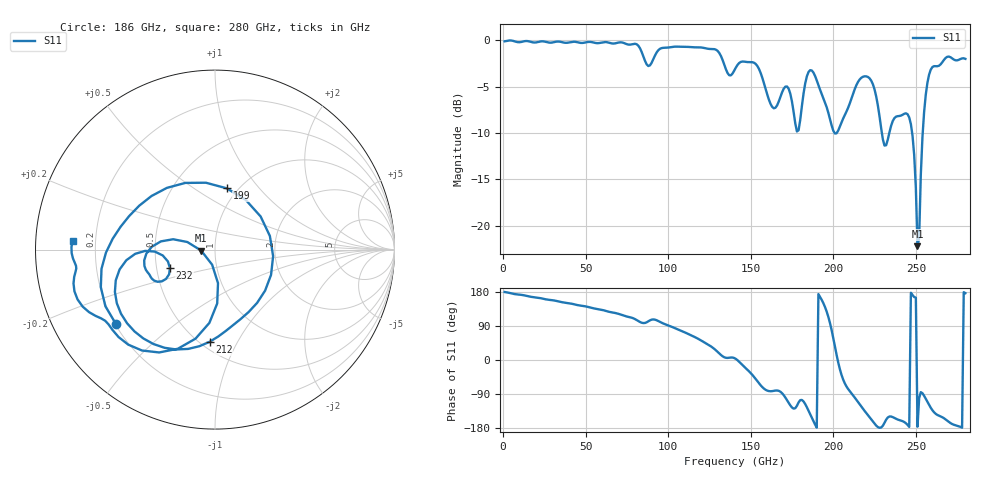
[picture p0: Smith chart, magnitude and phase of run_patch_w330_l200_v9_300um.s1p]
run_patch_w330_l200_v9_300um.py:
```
import os
import sys
sys.path.insert(0, os.path.abspath(os.path.join(os.path.dirname(__file__), 'modules')))

import modules.util_stackup_reader as stackup_reader
import modules.util_gds_reader as gds_reader
import modules.util_utilities as utilities
import modules.util_simulation_setup as simulation_setup
import modules.util_meshlines as util_meshlines

from openEMS import openEMS
import numpy as np
import matplotlib.pyplot as plt

# Model comments
#
# Dual dipole 245 GHz, design by IHP Klaus Schmalz
# Port defined in GDSIIfile on layer 201
# nf2ff_box field sampling at boundary for pattern calculation


# ======================== workflow settings ================================

# preview model/mesh only?
# postprocess existing data without re-running simulation?
preview_only = False
postprocess_only = True

# ===================== input files and path settings =======================

gds_filename = "patch_w330_l200_v9.gds"   # geometries
XML_filename = "SG13G2_300um.xml"       # stackup

# preprocess GDSII for safe handling of cutouts/holes?
preprocess_gds = False

# merge via polygons with distance less than .. microns, set to 0 to disable via merging.
merge_polygon_size = 0

# get path for this simulation file
script_path = utilities.get_script_path(__file__)

# use script filename as model basename
model_basename = utilities.get_basename(__file__)

# set and create directory for simulation output
sim_path = utilities.create_sim_path (script_path,model_basename)
print('Simulation data directory: ', sim_path)

# change current path to model script path
os.chdir(os.path.dirname(os.path.abspath(__file__)))

# ======================== simulation settings ================================

unit = 1e-6   # geometry dimensions and all lengths unit is µm (micrometer)
margin = 200    # distance in microns from GDSII geometry boundary to chip boundary 

fstart = 1e9
fstop  = 280e9
num_freq = 280

ftarget = 140e9  # frequency for antenna pattern calculation

refined_cellsize = 2.0  # mesh cell size in conductor region

# choices for boundary: 
# 'PEC' : perfect electric conductor (default)
# 'PMC' : perfect magnetic conductor, useful for symmetries
# 'MUR' : simple MUR absorbing boundary conditions
# 'PML_8' : PML absorbing boundary conditions
Boundaries = ['PML_8', 'PML_8', 'PML_8', 'PML_8', 'PML_8', 'PML_8']

cells_per_wavelength = 10   # how many mesh cells per wavelength, must be 10 or more
energy_limit = -30          # end criteria for residual energy (dB)

# ports from GDSII Data, polygon geometry from specified special layer
# note that for multiport simulation, excitations are switched on/off in simulation_setup.createSimulation below
simulation_ports = simulation_setup.all_simulation_ports()
simulation_ports.add_port(simulation_setup.simulation_port(portnumber=1, voltage=1, port_Z0=50, source_layernum=201, target_layername='TopMetal2', direction='-y'))

# ======================== simulation ================================

# get technology stackup data
materials_list, dielectrics_list, metals_list = stackup_reader.read_substrate (XML_filename)
# get list of layers from technology
layernumbers = metals_list.getlayernumbers()
layernumbers.extend(simulation_ports.portlayers)

# read geometries from GDSII, only purpose 0
allpolygons = gds_reader.read_gds(gds_filename, layernumbers, purposelist=[0], metals_list=metals_list, preprocess=preprocess_gds, merge_polygon_size=merge_polygon_size)

# calculate maximum cellsize from wavelength in dielectric
wavelength_air = 3e8/fstop / unit
max_cellsize = (wavelength_air)/(np.sqrt(materials_list.eps_max)*cells_per_wavelength) 


########### create model, run and post-process ###########

# Prepare simulation for port 1 excitation
excite_ports = [1]  # list of ports that are excited for this simulation run
FDTD = openEMS(EndCriteria=np.exp(energy_limit/10 * np.log(10)))
FDTD.SetGaussExcite( (fstart+fstop)/2, (fstop-fstart)/2 )
FDTD.SetBoundaryCond( Boundaries )

FDTD = simulation_setup.setupSimulation(
    excite_ports, 
    simulation_ports, 
    FDTD, 
    materials_list, 
    dielectrics_list, 
    metals_list, 
    allpolygons, 
    max_cellsize, 
    refined_cellsize, 
    margin, 
    unit, 
    xy_mesh_function = util_meshlines.create_xy_mesh_from_polygons, 
    air_around = 0.5*wavelength_air
    )

# add nf2ff box for antenna pattern calculation
nf2ff_box = FDTD.CreateNF2FFBox(opt_resolution = [max_cellsize]*3, frequency = [ftarget])

# run simulation
sub1_data_path = simulation_setup.runSimulation(excite_ports, FDTD, sim_path, model_basename, preview_only, postprocess_only)

# simulation is finished, get results, CSX port definition is read from simulation ports object
CSX_port1 = simulation_ports.get_port_by_number(1).CSXport

# definition of some utility functions
def dB(value, factor=20):
    return factor*np.log10(np.abs(value))
def dBm(value, factor=20):
    return dB(value/1e-3, factor=factor)

# evaluate results for 1-port simulation
if not preview_only:  
    f = np.linspace(fstart, fstop, num_freq)

    s11 = utilities.calculate_Sij(1, 1, f, sim_path, simulation_ports)
    s11_dB = dB(s11)

    # write Touchstone S1P file
    s1p_name = os.path.join(sim_path, model_basename + '.s1p')
    utilities.write_snp (np.array([s11]),f, s1p_name)

    # plot return loss
    fig, axis = plt.subplots(num="Return Loss", tight_layout=True)
    axis.plot(f/1e9, s11_dB, 'k-', linewidth=2, label='S11 (dB)')
    axis.grid()
    axis.set_xmargin(0)
    axis.set_xlim(110,170)
    axis.set_xlabel('Frequency (GHz)')
    axis.set_title("Return Loss")
    axis.legend()
    
    print('Calculating antenna pattern, this will take a while!')
   
    theta = np.arange(-180.0, 180.0, 2.0)
    phi   = [0., 90.]
    nf2ff_res = nf2ff_box.CalcNF2FF(sub1_data_path, ftarget, theta, phi)

   # INPUT POWER values into feed port at evaluation frequency
   # P_acc = accepted power (incoming - reflected)
   # P_inc = incident power (incoming), regardless of reflection
   
   # get accepted power into port
    Pin_accepted = np.interp(ftarget, f, CSX_port1.P_acc)
   # get incident power
    P_incident = np.interp(ftarget, f, CSX_port1.P_inc)

   # get total radiated power at nf2ff frequency 
    Prad_total = nf2ff_res.Prad[0]
   # get directivity (peak value) at nf2ff frequency 
    Dmax_dB = dB(nf2ff_res.Dmax[0], 10)
   # calculate radiation efficiency (lossless antenna is 1, regardless of input matching)
    radiation_efficiency = Prad_total/Pin_accepted
    radiation_efficiency_dB = dB(radiation_efficiency, 10)  # negative for lossy antenna
   # loss from reflection due to mismatch
    mismatch_loss =  Pin_accepted/P_incident
    mismatch_loss_dB = dB(mismatch_loss, 10)

   # evaluate far field components
   # normalize E field components to peak value of absolute field, and multiply by directivity
    directivity_abs  = dB(nf2ff_res.E_norm[0]/np.max(nf2ff_res.E_norm[0])) + Dmax_dB
    directivity_abs_xz = directivity_abs[:,0] # get field in xz plane, that is phi=0, which is index 0 
    directivity_abs_yz = directivity_abs[:,1] # get field in yz plane, that is phi=90, which is index 1 

    gain_abs_xz = directivity_abs_xz + radiation_efficiency_dB
    gain_abs_yz = directivity_abs_yz + radiation_efficiency_dB

   # display radiated power and directivity
    print(f"Antenna parameters at {ftarget/1e9:g} GHz:")
    print(f"    Incident power P_incident  =  {P_incident:.3e} W  =  {dBm(P_incident, 10):g} dBm")
    print(f"    Accepted power Pin_accepted  =  {Pin_accepted:.3e} W  =  {dBm(Pin_accepted, 10):g} dBm")
    print(f"    Radiated power Prad_total  =  {Prad_total:.3e} W  =  {dBm(Prad_total, 10):g} dBm")
    print(f"    Directivity Dmax  =  {Dmax_dB:g} dBi")
    print(f"    efficiency nu_rad  =  {100*radiation_efficiency:g} %  =  {radiation_efficiency_dB:g} dB")
    print(f"    mismatch loss  =  {mismatch_loss:g} (linear)  =  {mismatch_loss_dB:g} dB")


    fig, axis = plt.subplots(num="Directivity", tight_layout=True)
    axis.plot(theta, np.squeeze(directivity_abs_xz), 'k-',  linewidth=2, label='xz-plane')
    axis.plot(theta, np.squeeze(directivity_abs_yz), 'r--', linewidth=2, label='yz-plane')
    axis.grid()
    axis.set_xmargin(0)
    axis.set_xlabel('Theta (deg)')
    axis.set_ylabel('Directivity (dBi)')
    axis.set_title(f'Directivity at Frequency: {ftarget/1e9:g} GHz')
    axis.legend()

    fig, axis = plt.subplots(num="Gain", tight_layout=True)
    axis.plot(theta, np.squeeze(gain_abs_xz), 'k-',  linewidth=2, label='xz-plane')
    axis.plot(theta, np.squeeze(gain_abs_yz), 'r--', linewidth=2, label='yz-plane')
    axis.grid()
    axis.set_xmargin(0)
    axis.set_xlabel('Theta (deg)')
    axis.set_ylabel('Gain (dBi)')
    axis.set_title(f'Gain at Frequency: {ftarget/1e9:g} GHz')
    axis.legend()

    # show all plots
    plt.show()
```
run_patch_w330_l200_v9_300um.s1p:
#  Hz  S  RI  R  50
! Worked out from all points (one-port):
!   280 points, 1 GHz to 280 GHz, reference 50 ohm
!   lowest |S11| = -22.2 dB at 251 GHz (marker M1), VSWR 1.17, Z = 42.8 - j0.454 ohm
!   |S11| at or under -10 dB: 200.8 GHz to 202.1 GHz (1.296 GHz wide, 0.644 % of centre); 229.4 GHz to 233.9 GHz (4.492 GHz wide, 1.94 % of centre); 247.8 GHz to 254.2 GHz (6.414 GHz wide, 2.56 % of centre)
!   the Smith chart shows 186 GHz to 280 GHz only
!   S11 on the Smith chart (normalised r, x): 186 GHz: 0.20, -0.32; 199 GHz: 0.89, +0.69; 212 GHz: 0.55, -0.78; 232 GHz: 0.59, -0.13; 280 GHz: 0.11, +0.03
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1e9  -0.9875 0.00931
9.4e10  -0.1988 0.8604
1.31e11  0.8158 0.2527
1.55e11  0.3374 -0.6147
1.86e11  -0.5525 -0.4135
1.87e11  -0.6106 -0.3159
1.99e11  0.0658 0.3412
2.12e11  -0.0304 -0.5138
2.22e11  -0.5469 -0.2991
2.32e11  -0.2509 -0.1035
2.46e11  -0.3826 -0.0229
2.51e11  -0.0773 -0.00527
2.58e11  -0.3111 -0.5731
2.8e11  -0.7926 0.0504
